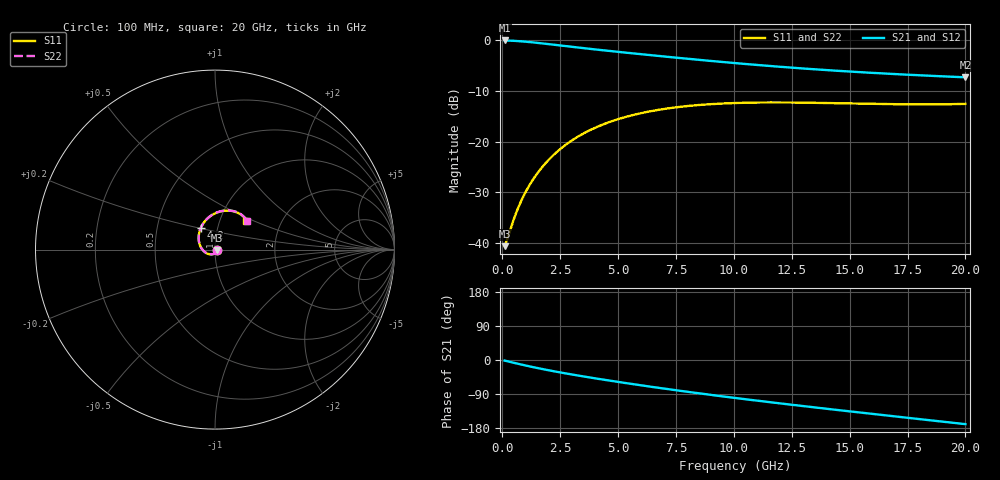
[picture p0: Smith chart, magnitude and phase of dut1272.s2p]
! Touchstone file exported from HFSS 2024.1.0
!  File:  C:/UserFiles/LocalFiles/RDL_TSV_Batchsim/temp_RDL_TSV_1272_1780274989.aedt
!  Generated:  09:04:30 AM Jun  1, 2026
!  Design:  RDL_TSV
!  Project:  temp_RDL_TSV_1272_1780274989
!  Setup:  Setup1
!  Solution:  Sweep
! Variables:
!  dtsv = 11.64um
!  hbump = 3um
!  htsv = 72.88um
!  ldown = 167.57um
!  lrdl = 463.83um
!  p = 40
!  p1 = 40.97um
!  rhole = 10um
!  subl = 2358.03um
!  t = 450um
!  tdown = 4.93um
!  trdl = 4.66um
!  viad = 10um
!  wdown = 19.63um
!  wrdl = 22.54um
!  xbump = 18um
# GHz S MA R 50.000000
! Terminal data exported
! Port[1] = TM1_1_T1
! Port[2] = TM1_4_T1
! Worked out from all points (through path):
!   200 points, 100 MHz to 20 GHz, reference 50 ohm
!   highest |S21| = -0.08 dB at 100 MHz (marker M1); lowest = -7.3 dB at 20 GHz (marker M2)
!   group delay of S21, straight-line fit = 22.3 ps
!   lowest |S11| = -40.6 dB at 100 MHz (marker M3), VSWR 1.02, Z = 50.9 - j0.312 ohm
!   |S11| at or under -10 dB: start of sweep to end of sweep
!   |S22| runs from -40.6 to -12.2 dB; largest |S21 - S12| = 2.3e-14
!   S11 on the Smith chart (normalised r, x): 100 MHz: 1.02, -0.01; 4.2 GHz: 0.83, +0.20; 20 GHz: 1.34, +0.45
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0.1  0.009355 -19.1  0.9905 -1.5  0.9905 -1.5  0.009354 -19.1
! Gamma 0 0 0 0
! Port Impedance 50 0 50 0
0.2  0.0107 -37.5  0.9891 -3.0  0.9891 -3.0  0.0107 -37.5
0.5  0.01729 -80.2  0.9823 -7.4  0.9823 -7.4  0.01728 -80.3
0.7  0.02271 -100.2  0.9759 -10.3  0.9759 -10.3  0.02271 -100.2
1  0.03171 -123.4  0.9639 -14.5  0.9639 -14.5  0.03171 -123.5
1.4  0.04485 -147.6  0.9443 -19.8  0.9443 -19.8  0.04488 -147.7
1.8  0.05889 -167.0  0.9226 -24.7  0.9226 -24.7  0.05896 -167.1
2.3  0.07708 173.2  0.8947 -30.6  0.8947 -30.6  0.07722 173.1
2.9  0.09895 154.2  0.8624 -37.1  0.8624 -37.1  0.09919 154.1
3.5  0.1201 138.8  0.8322 -43.3  0.8322 -43.3  0.1204 138.7
4.2  0.143 124.1  0.7995 -50.2  0.7995 -50.2  0.1434 124.1
4.8  0.1608 113.5  0.7734 -55.9  0.7734 -55.9  0.1613 113.5
5.4  0.1768 104.4  0.7487 -61.5  0.7487 -61.5  0.1774 104.4
6.8  0.2066 87.1  0.6954 -73.9  0.6954 -73.9  0.2074 87.1
8.4  0.2285 72.2  0.6413 -87.2  0.6413 -87.2  0.2294 72.2
10.1  0.2401 60.5  0.5916 -100.5  0.5916 -100.5  0.2412 60.5
11.7  0.2431 52.5  0.552 -112.4  0.552 -112.4  0.2444 52.5
13.4  0.2412 46.6  0.5169 -124.5  0.5169 -124.5  0.2425 46.6
15  0.2373 43.2  0.4896 -135.6  0.4896 -135.6  0.2386 43.2
16.7  0.2335 41.5  0.4655 -147.1  0.4655 -147.1  0.2349 41.4
18.3  0.2324 41.2  0.4467 -157.9  0.4467 -157.9  0.2338 41.2
20  0.2353 41.9  0.4297 -169.3  0.4297 -169.3  0.2366 41.8
